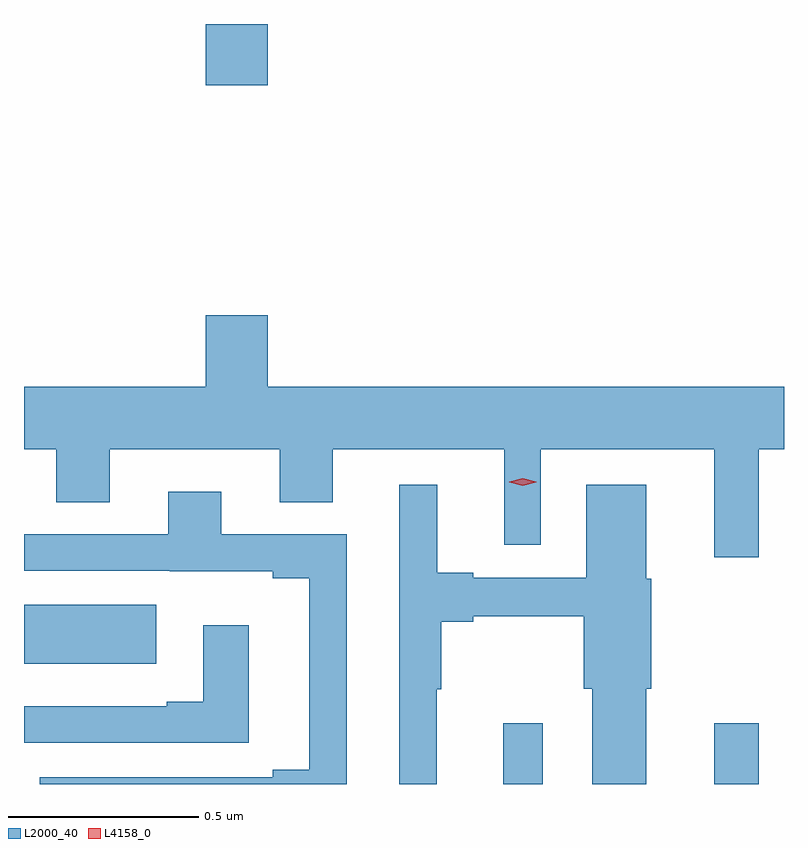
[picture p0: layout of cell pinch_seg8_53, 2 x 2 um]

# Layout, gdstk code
import gdstk
lib = gdstk.Library(unit=1e-6, precision=1e-09)
def R(c, l, rs):  # rectangles x0, y0, x1, y1
    for r in rs: c.add(gdstk.rectangle(r[:2], r[2:], *l))
def P(c, l, *ps):  # polygons
    for p in ps: c.add(gdstk.Polygon(p, *l))
L2000_40 = (2000, 40)
L4158_0 = (4158, 0)

pinch_seg8_53 = lib.new_cell('pinch_seg8_53')
R(pinch_seg8_53, L2000_40, [(873.083,1143.591,873.187,1143.751), (873.638,1143.591,873.755,1143.751), (871.822,1143.908,872.17,1144.063), (872.3,1145.43,872.464,1145.591)])
P(pinch_seg8_53, L2000_40, [(873.755,1144.472),(873.822,1144.472),(873.822,1144.636),(872.464,1144.636),(872.464,1144.825),(872.3,1144.825),(872.3,1144.636),(871.822,1144.636),(871.822,1144.472),(871.907,1144.472),(871.907,1144.333),(872.047,1144.333),(872.047,1144.472),(872.495,1144.472),(872.495,1144.333),(872.635,1144.333),(872.635,1144.472),(873.086,1144.472),(873.086,1144.221),(873.182,1144.221),(873.182,1144.472),(873.638,1144.472),(873.638,1144.188),(873.755,1144.188)],
  [(872.908,1143.841),(872.92,1143.841),(872.92,1144.018),(873.004,1144.018),(873.004,1144.033),(873.295,1144.033),(873.295,1143.842),(873.317,1143.842),(873.317,1143.591),(873.46,1143.591),(873.46,1143.842),(873.473,1143.842),(873.473,1144.131),(873.46,1144.131),(873.46,1144.378),(873.302,1144.378),(873.302,1144.134),(873.004,1144.134),(873.004,1144.147),(872.909,1144.147),(872.909,1144.378),(872.81,1144.378),(872.81,1143.591),(872.908,1143.591)],
  [(872.671,1144.248),(872.341,1144.248),(872.341,1144.36),(872.201,1144.36),(872.201,1144.248),(871.822,1144.248),(871.822,1144.152),(872.205,1144.152),(872.205,1144.151),(872.477,1144.151),(872.477,1144.132),(872.573,1144.132),(872.573,1143.629),(872.477,1143.629),(872.477,1143.609),(871.863,1143.609),(871.863,1143.591),(872.671,1143.591)],
  [(872.413,1144.009),(872.294,1144.009),(872.294,1143.808),(872.198,1143.808),(872.198,1143.795),(871.822,1143.795),(871.822,1143.699),(872.413,1143.699)])
P(pinch_seg8_53, L4158_0, [(873.134,1144.376),(873.099,1144.385),(873.099,1144.386),(873.099,1144.386),(873.134,1144.396),(873.17,1144.386),(873.17,1144.386),(873.17,1144.385)])

lib.write_gds('pinch_seg8_53.gds')
